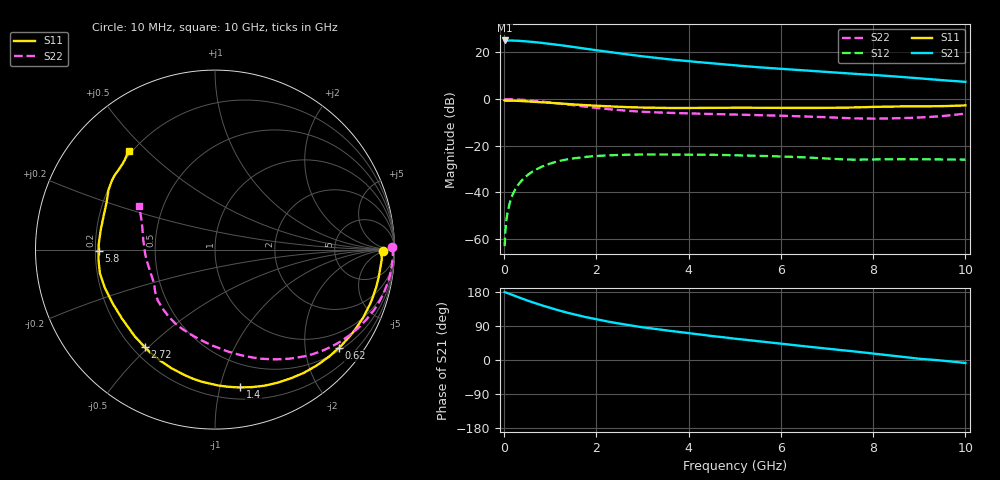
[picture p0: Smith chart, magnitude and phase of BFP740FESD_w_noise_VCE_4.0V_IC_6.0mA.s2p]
! Infineon Technologies  Discrete & RF Semiconductors
! BFP740FESD
! VCE =  4.0 V,  IC =  6.0 mA
! Common Emitter S-Parameters:  Jan 2016
# GHz  S  MA  R  50
!  f  S11  S21  S12  S22
! GHz  MAG  ANG  MAG  ANG  MAG  ANG  MAG  ANG
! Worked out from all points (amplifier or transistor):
!   233 points, 10 MHz to 10 GHz, reference 50 ohm
!   highest |S21| = 25.1 dB at 10 MHz (marker M1)
!   |S21| within 3 dB of that: start of sweep to 1.578 GHz
!   unconditionally stable (mu >= 1): 6.905 GHz to end of sweep
!   at 200 MHz: K = 0.09, MSG = 32.7 dB, |S12| = -40.3 dB
!   at 1.74 GHz: K = 0.22, MSG = 23.3 dB, |S12| = -24.9 dB
!   at 10 GHz: K = 1.44, MAG = 12.7 dB, |S12| = -26.0 dB
!   lowest NFmin = 0.52 dB at 450 MHz
!   S11 on the Smith chart (normalised r, x): 10 MHz: 30, -5; 620 MHz: 0.57, -2.77; 1.4 GHz: 0.29, -1.16; 2.72 GHz: 0.25, -0.49; 5.8 GHz: 0.21, -0.00; 10 GHz: 0.19, +0.44
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0.01  0.9368 -0.6  18.09 179.2  0.0007 -23.2  0.9851 0.7
0.045  0.9302 -2.8  17.98 177.6  0.0024 73.7  0.9915 -1.8
0.09  0.9273 -5.7  18.03 175.8  0.0044 78.0  0.9908 -3.8
0.2  0.9227 -12.8  18 170.7  0.0097 78.8  0.985 -8.6
0.3  0.9163 -19.2  17.8 166.0  0.0143 76.3  0.9753 -12.7
0.5  0.8955 -31.4  17.23 157.1  0.0232 69.9  0.9469 -21.0
0.62  0.881 -38.4  16.79 152.0  0.0281 65.8  0.9249 -25.6
0.8  0.8593 -48.7  16.07 144.9  0.0349 60.0  0.8892 -32.4
1  0.8322 -59.6  15.26 137.5  0.0415 53.9  0.8453 -39.7
1.2  0.8068 -70.0  14.42 130.4  0.0471 48.1  0.8002 -46.5
1.4  0.7805 -79.6  13.54 123.8  0.0516 42.7  0.755 -52.9
1.68  0.7491 -91.6  12.39 115.6  0.0563 36.1  0.6988 -61.0
2.2  0.7042 -110.2  10.49 102.5  0.0618 26.3  0.6164 -74.4
2.72  0.6692 -125.7  8.963 91.6  0.0642 18.4  0.5566 -86.1
3  0.6583 -132.8  8.264 86.3  0.0647 14.9  0.5349 -91.5
3.4  0.6461 -141.3  7.439 80.0  0.0646 11.1  0.5142 -97.5
4.4  0.6476 -159.3  5.982 64.9  0.064 3.8  0.4813 -110.7
5.1  0.6535 -169.8  5.195 55.1  0.0621 -0.5  0.4636 -119.8
5.8  0.6488 -179.4  4.603 45.8  0.0597 -3.8  0.4449 -128.5
6.8  0.6465 166.0  3.939 32.5  0.0543 -6.7  0.4149 -142.2
8.4  0.6917 146.1  3.097 11.5  0.0513 -1.2  0.3861 -171.8
10  0.7319 131.1  2.344 -7.9  0.0503 0.2  0.4877 150.0
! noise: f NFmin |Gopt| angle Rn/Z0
0.45  0.52  0.43  5  0.12
2.4  0.63  0.27  44  0.11
5.5  0.81  0.38  128  0.08
10  1.5  0.42  -139  0.13
